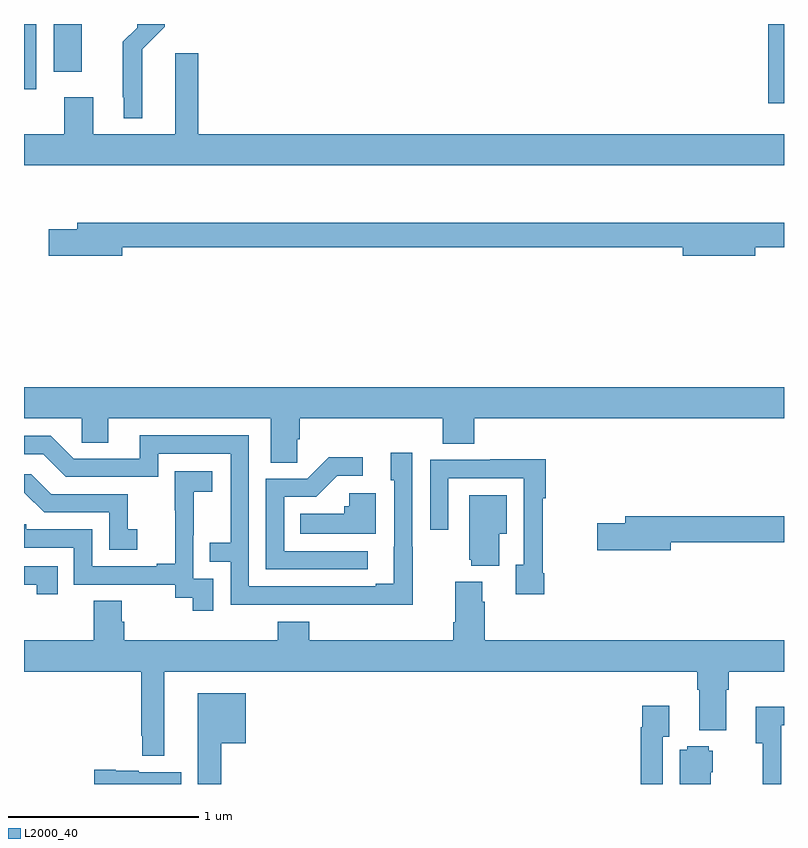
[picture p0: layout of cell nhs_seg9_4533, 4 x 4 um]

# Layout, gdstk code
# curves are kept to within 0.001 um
import gdstk
lib = gdstk.Library(unit=1e-6, precision=1e-09)
def R(c, l, rs):  # rectangles x0, y0, x1, y1
    for r in rs: c.add(gdstk.rectangle(r[:2], r[2:], *l))
def P(c, l, *ps):  # polygons
    for p in ps: c.add(gdstk.Polygon(p, *l))
L2000_40 = (2000, 40)

nhs_seg9_4533 = lib.new_cell('nhs_seg9_4533')
R(nhs_seg9_4533, L2000_40, [(374.918,1194.084,375,1194.5), (371,1194.156,371.065,1194.5), (371.156,1194.249,371.305,1194.5)])
P(nhs_seg9_4533, L2000_40, [(371.623,1194.368),(371.741,1194.486),(371.741,1194.5),(371.595,1194.5),(371.595,1194.48),(371.521,1194.406),(371.521,1194.115),(371.525,1194.115),(371.525,1194.005),(371.623,1194.005)],
  [(375,1193.92),(371.918,1193.92),(371.918,1194.346),(371.795,1194.346),(371.795,1193.92),(371.365,1193.92),(371.365,1194.115),(371.213,1194.115),(371.213,1193.92),(371,1193.92),(371,1193.756),(375,1193.756)],
  [(371.518,1193.326),(374.468,1193.326),(374.468,1193.279),(374.848,1193.279),(374.848,1193.326),(375,1193.326),(375,1193.455),(371.279,1193.455),(371.279,1193.421),(371.13,1193.421),(371.13,1193.279),(371.518,1193.279)],
  [(372.438,1192.315),(372.452,1192.315),(372.452,1192.424),(373.205,1192.424),(373.205,1192.291),(373.37,1192.291),(373.37,1192.424),(375,1192.424),(375,1192.588),(371,1192.588),(371,1192.424),(371.304,1192.424),(371.304,1192.297),(371.443,1192.297),(371.443,1192.424),(372.299,1192.424),(372.299,1192.192),(372.438,1192.192)],
  [(373.047,1191.749),(373.044,1191.749),(373.044,1192.243),(372.929,1192.243),(372.929,1192.098),(372.948,1192.098),(372.947,1191.553),(372.851,1191.553),(372.851,1191.54),(372.183,1191.54),(372.183,1192.335),(371.609,1192.335),(371.609,1192.212),(371.262,1192.212),(371.142,1192.332),(371,1192.332),(371,1192.236),(371.1,1192.236),(371.22,1192.116),(371.706,1192.116),(371.706,1192.239),(372.087,1192.239),(372.087,1191.77),(371.977,1191.77),(371.977,1191.669),(372.087,1191.669),(372.087,1191.444),(373.047,1191.443)],
  [(372.808,1191.726),(372.369,1191.726),(372.369,1192.011),(372.538,1192.011),(372.649,1192.122),(372.784,1192.122),(372.784,1192.22),(372.605,1192.22),(372.492,1192.107),(372.273,1192.107),(372.273,1191.63),(372.808,1191.63)],
  [(373.738,1191.61),(373.73,1191.61),(373.73,1192.003),(373.745,1192.003),(373.745,1192.208),(373.453,1192.208),(373.453,1192.206),(373.137,1192.206),(373.137,1191.837),(373.233,1191.837),(373.233,1192.11),(373.629,1192.11),(373.629,1191.654),(373.589,1191.654),(373.589,1191.498),(373.738,1191.498)],
  [(371.997,1191.579),(371.892,1191.579),(371.892,1191.809),(371.894,1191.809),(371.894,1192.037),(371.992,1192.037),(371.992,1192.147),(371.794,1192.147),(371.794,1191.941),(371.795,1191.941),(371.795,1191.658),(371.699,1191.658),(371.699,1191.645),(371.358,1191.645),(371.358,1191.84),(371.013,1191.84),(371.013,1191.867),(371,1191.867),(371,1191.744),(371.262,1191.744),(371.262,1191.549),(371.796,1191.549),(371.796,1191.481),(371.889,1191.481),(371.889,1191.411),(371.997,1191.411)],
  [(371.596,1191.841),(371.547,1191.841),(371.547,1192.026),(371.143,1192.026),(371.038,1192.131),(371,1192.131),(371,1192.034),(371.002,1192.034),(371.106,1191.93),(371.448,1191.93),(371.448,1191.732),(371.596,1191.732)],
  [(372.85,1192.03),(372.711,1192.03),(372.711,1191.963),(372.685,1191.963),(372.685,1191.922),(372.454,1191.922),(372.454,1191.818),(372.85,1191.818)],
  [(373.501,1191.818),(373.54,1191.818),(373.54,1192.021),(373.343,1192.021),(373.343,1191.681),(373.355,1191.681),(373.355,1191.65),(373.501,1191.65)],
  [(374.404,1191.772),(375,1191.772),(375,1191.908),(374.165,1191.908),(374.165,1191.872),(374.016,1191.872),(374.016,1191.73),(374.404,1191.73)],
  [(371.177,1191.645),(371,1191.645),(371,1191.549),(371.066,1191.549),(371.066,1191.498),(371.177,1191.498)],
  [(371.737,1191.092),(374.543,1191.092),(374.543,1190.996),(374.555,1190.996),(374.555,1190.783),(374.695,1190.783),(374.695,1190.996),(374.708,1190.996),(374.708,1191.092),(375,1191.092),(375,1191.256),(373.424,1191.256),(373.424,1191.458),(373.411,1191.458),(373.411,1191.565),(373.271,1191.565),(373.271,1191.352),(373.259,1191.352),(373.259,1191.256),(372.5,1191.256),(372.5,1191.355),(372.335,1191.355),(372.335,1191.256),(371.528,1191.256),(371.528,1191.354),(371.515,1191.354),(371.515,1191.464),(371.368,1191.464),(371.368,1191.256),(371,1191.256),(371,1191.092),(371.616,1191.092),(371.616,1190.755),(371.623,1190.755),(371.623,1190.648),(371.737,1190.648)],
  [(372.037,1190.714),(372.166,1190.714),(372.166,1190.977),(371.915,1190.977),(371.915,1190.5),(372.037,1190.5)],
  [(374.361,1190.75),(374.395,1190.75),(374.395,1190.911),(374.253,1190.911),(374.253,1190.798),(374.245,1190.798),(374.245,1190.5),(374.361,1190.5)],
  [(374.985,1190.808),(375,1190.808),(375,1190.906),(374.852,1190.906),(374.852,1190.714),(374.889,1190.714),(374.889,1190.5),(374.985,1190.5)],
  [(374.614,1190.562),(374.626,1190.562),(374.626,1190.676),(374.604,1190.676),(374.604,1190.698),(374.49,1190.698),(374.49,1190.68),(374.45,1190.68),(374.45,1190.5),(374.614,1190.5)],
  [(371.827,1190.563),(371.604,1190.563),(371.604,1190.569),(371.482,1190.569),(371.482,1190.576),(371.37,1190.576),(371.37,1190.5),(371.827,1190.5)])

lib.write_gds('nhs_seg9_4533.gds')
